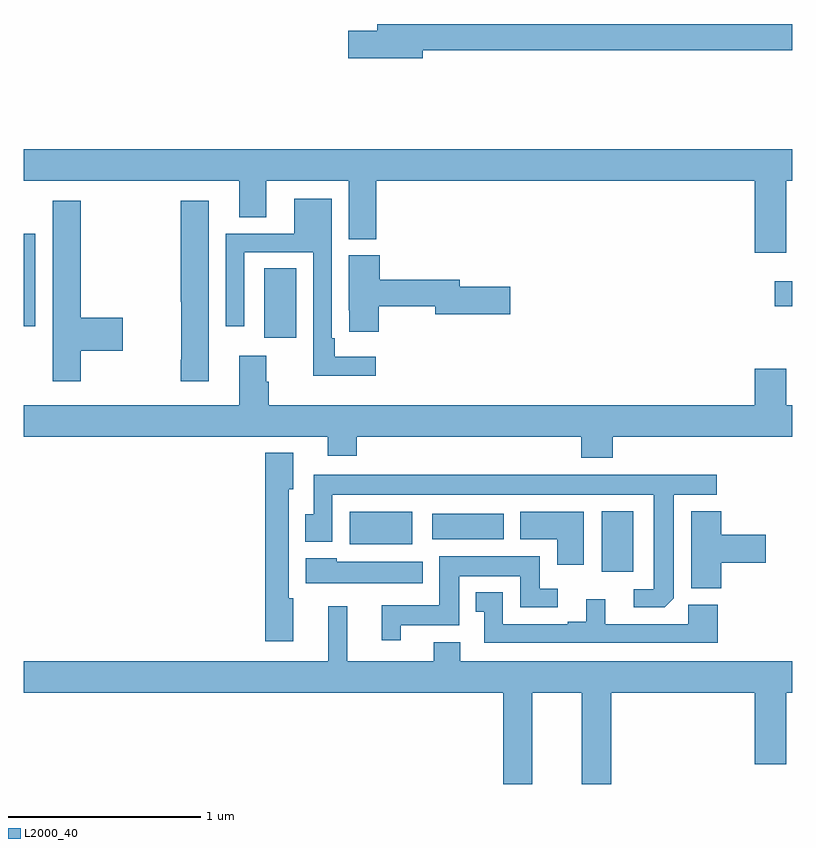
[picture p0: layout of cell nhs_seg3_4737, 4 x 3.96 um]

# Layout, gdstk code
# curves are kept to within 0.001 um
import gdstk
lib = gdstk.Library(unit=1e-6, precision=1e-09)
def R(c, l, rs):  # rectangles x0, y0, x1, y1
    for r in rs: c.add(gdstk.rectangle(r[:2], r[2:], *l))
def P(c, l, *ps):  # polygons
    for p in ps: c.add(gdstk.Polygon(p, *l))
L2000_40 = (2000, 40)

nhs_seg3_4737 = lib.new_cell('nhs_seg3_4737')
R(nhs_seg3_4737, L2000_40, [(368.009,741.504,368.173,741.82), (366.698,741.647,367.021,741.817), (367.125,741.674,367.498,741.808), (366.251,742.722,366.418,743.084), (365,742.782,365.061,743.265), (368.91,742.888,369,743.017)])
P(nhs_seg3_4737, L2000_40, [(367.078,744.22),(369,744.22),(369,744.356),(366.839,744.356),(366.839,744.32),(366.69,744.32),(366.69,744.178),(367.078,744.178)],
  [(368.968,743.54),(369,743.54),(369,743.704),(365,743.704),(365,743.54),(366.122,743.54),(366.122,743.35),(366.262,743.35),(366.262,743.54),(366.692,743.54),(366.692,743.236),(366.836,743.236),(366.836,743.54),(368.804,743.54),(368.804,743.166),(368.968,743.166)],
  [(366.832,742.624),(366.619,742.624),(366.619,742.72),(366.603,742.72),(366.603,743.446),(366.407,743.446),(366.407,743.265),(366.051,743.265),(366.051,742.782),(366.147,742.782),(366.147,743.169),(366.507,743.169),(366.507,742.526),(366.832,742.526)],
  [(365.962,743.437),(365.816,743.437),(365.816,742.909),(365.821,742.909),(365.821,742.609),(365.816,742.609),(365.816,742.497),(365.962,742.497)],
  [(365.297,742.655),(365.515,742.655),(365.515,742.826),(365.297,742.826),(365.297,743.437),(365.15,743.437),(365.15,742.497),(365.297,742.497)],
  [(366.849,742.888),(367.142,742.888),(367.142,742.846),(367.531,742.846),(367.531,742.988),(367.27,742.988),(367.27,743.024),(366.854,743.024),(366.854,743.151),(366.692,743.151),(366.692,742.867),(366.693,742.867),(366.693,742.755),(366.849,742.755)],
  [(366.581,742.109),(366.734,742.109),(366.734,742.208),(367.901,742.208),(367.901,742.097),(368.066,742.097),(368.066,742.208),(369,742.208),(369,742.372),(368.968,742.372),(368.968,742.561),(368.804,742.561),(368.804,742.372),(366.275,742.372),(366.275,742.493),(366.262,742.493),(366.262,742.63),(366.122,742.63),(366.122,742.372),(365,742.372),(365,742.208),(366.581,742.208)],
  [(366.403,741.366),(366.379,741.366),(366.379,741.933),(366.403,741.933),(366.403,742.123),(366.257,742.123),(366.257,741.144),(366.403,741.144)],
  [(368.382,741.367),(368.383,741.905),(368.608,741.905),(368.608,742.009),(366.509,742.009),(366.509,741.804),(366.464,741.804),(366.464,741.66),(366.606,741.66),(366.606,741.905),(368.279,741.905),(368.279,741.414),(368.175,741.414),(368.175,741.321),(368.336,741.321)],
  [(368.63,741.551),(368.863,741.551),(368.863,741.698),(368.63,741.698),(368.63,741.82),(368.474,741.82),(368.474,741.419),(368.63,741.419)],
  [(367.915,741.817),(367.583,741.817),(367.583,741.674),(367.778,741.674),(367.778,741.54),(367.915,741.54)],
  [(366.961,741.227),(367.267,741.227),(367.267,741.482),(367.583,741.482),(367.583,741.321),(367.78,741.321),(367.78,741.417),(367.687,741.417),(367.687,741.586),(367.163,741.586),(367.163,741.331),(366.863,741.331),(366.863,741.147),(366.961,741.147)],
  [(367.078,741.556),(366.63,741.556),(366.63,741.574),(366.468,741.574),(366.468,741.446),(367.078,741.446)],
  [(368.612,741.334),(368.46,741.334),(368.46,741.231),(368.026,741.231),(368.026,741.361),(367.928,741.361),(367.928,741.244),(367.832,741.244),(367.832,741.231),(367.494,741.231),(367.494,741.397),(367.352,741.397),(367.352,741.297),(367.398,741.297),(367.398,741.135),(368.612,741.135)],
  [(367.648,740.876),(367.904,740.876),(367.904,740.4),(368.057,740.4),(368.057,740.876),(368.804,740.876),(368.804,740.502),(368.968,740.502),(368.968,740.876),(369,740.876),(369,741.04),(367.273,741.04),(367.273,741.139),(367.133,741.139),(367.133,741.04),(366.683,741.04),(366.683,741.325),(366.584,741.325),(366.584,741.04),(365,741.04),(365,740.876),(367.496,740.876),(367.496,740.4),(367.648,740.4)])

lib.write_gds('nhs_seg3_4737.gds')
